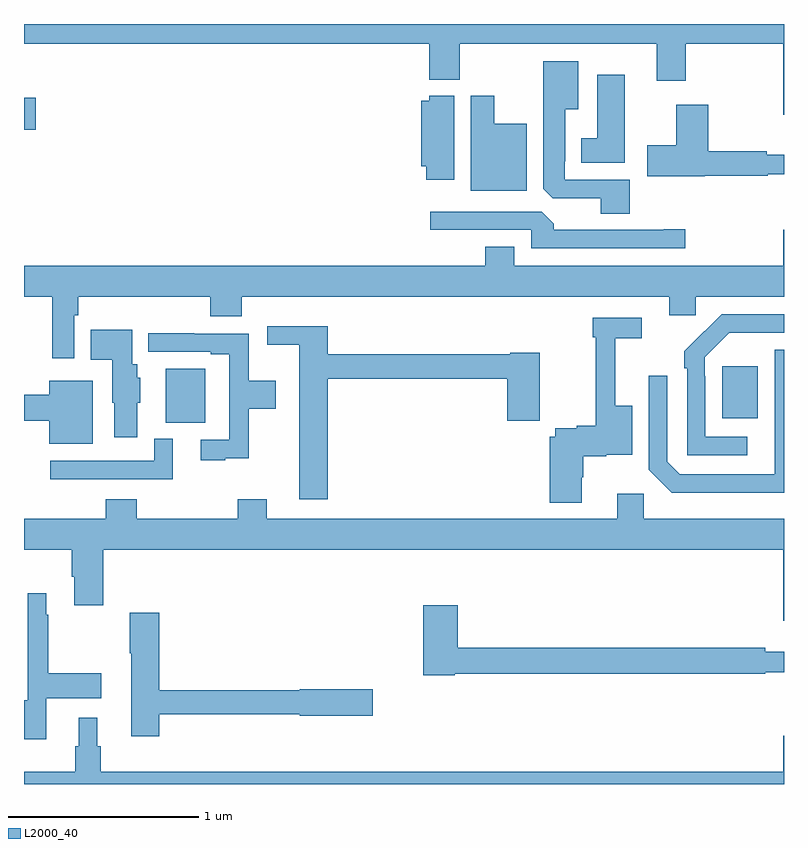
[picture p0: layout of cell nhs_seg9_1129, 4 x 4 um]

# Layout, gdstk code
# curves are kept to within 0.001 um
import gdstk
lib = gdstk.Library(unit=1e-6, precision=1e-09)
def R(c, l, rs):  # rectangles x0, y0, x1, y1
    for r in rs: c.add(gdstk.rectangle(r[:2], r[2:], *l))
def P(c, l, *ps):  # polygons
    for p in ps: c.add(gdstk.Polygon(p, *l))
L2000_40 = (2000, 40)

nhs_seg9_1129 = lib.new_cell('nhs_seg9_1129')
R(nhs_seg9_1129, L2000_40, [(173.747,1218.401,173.953,1218.685), (176.675,1218.425,176.863,1218.7), (173,1219.943,173.062,1220.113)])
P(nhs_seg9_1129, L2000_40, [(177,1220.5),(173,1220.5),(173,1220.396),(175.133,1220.396),(175.133,1220.207),(175.293,1220.207),(175.293,1220.396),(176.33,1220.396),(176.33,1220.202),(176.483,1220.202),(176.483,1220.396),(176.996,1220.396),(176.996,1220.022),(177,1220.022)],
  [(176.189,1219.68),(175.845,1219.68),(175.845,1219.777),(175.849,1219.777),(175.849,1220.051),(175.918,1220.051),(175.918,1220.305),(175.733,1220.305),(175.733,1219.633),(175.782,1219.584),(176.036,1219.584),(176.036,1219.501),(176.189,1219.501)],
  [(176.161,1220.233),(176.018,1220.233),(176.018,1219.9),(175.934,1219.9),(175.934,1219.769),(176.161,1219.769)],
  [(175.645,1219.975),(175.474,1219.975),(175.474,1220.122),(175.352,1220.122),(175.352,1219.622),(175.645,1219.622)],
  [(175.264,1220.122),(175.134,1220.122),(175.134,1220.095),(175.091,1220.095),(175.091,1219.751),(175.118,1219.751),(175.118,1219.68),(175.264,1219.68)],
  [(176.583,1219.701),(176.914,1219.701),(176.914,1219.708),(177,1219.708),(177,1219.811),(176.909,1219.811),(176.909,1219.829),(176.6,1219.829),(176.6,1220.074),(176.432,1220.074),(176.432,1219.863),(176.28,1219.863),(176.28,1219.7),(176.583,1219.7)],
  [(176.479,1219.421),(176.366,1219.421),(176.366,1219.416),(175.787,1219.416),(175.787,1219.45),(175.725,1219.512),(175.137,1219.512),(175.137,1219.416),(175.671,1219.416),(175.671,1219.32),(176.479,1219.32)],
  [(173.265,1218.968),(173.285,1218.968),(173.285,1219.064),(173.981,1219.064),(173.981,1218.962),(174.146,1218.962),(174.146,1219.064),(176.396,1219.064),(176.396,1218.966),(176.535,1218.966),(176.535,1219.064),(177,1219.064),(177,1219.417),(176.996,1219.417),(176.996,1219.228),(175.579,1219.228),(175.579,1219.327),(175.427,1219.327),(175.427,1219.228),(173,1219.228),(173,1219.064),(173.149,1219.064),(173.149,1218.741),(173.265,1218.741)],
  [(176.806,1218.327),(176.586,1218.327),(176.586,1218.647),(176.583,1218.647),(176.583,1218.747),(176.712,1218.876),(177,1218.876),(177,1218.972),(176.672,1218.972),(176.475,1218.777),(176.475,1218.689),(176.49,1218.689),(176.49,1218.231),(176.806,1218.231)],
  [(175.936,1218.114),(175.944,1218.114),(175.944,1218.226),(176.064,1218.226),(176.064,1218.233),(176.2,1218.233),(176.2,1218.49),(176.111,1218.49),(176.111,1218.846),(176.251,1218.846),(176.251,1218.954),(175.993,1218.954),(175.993,1218.851),(176.008,1218.851),(176.008,1218.386),(175.908,1218.386),(175.908,1218.373),(175.796,1218.373),(175.796,1218.327),(175.766,1218.327),(175.766,1217.981),(175.936,1217.981)],
  [(174.599,1218.634),(175.544,1218.634),(175.544,1218.411),(175.714,1218.411),(175.714,1218.771),(175.56,1218.771),(175.56,1218.763),(174.599,1218.763),(174.599,1218.91),(174.279,1218.91),(174.279,1218.812),(174.449,1218.812),(174.449,1218),(174.599,1218)],
  [(173.596,1218.507),(173.611,1218.507),(173.611,1218.639),(173.596,1218.639),(173.596,1218.708),(173.569,1218.708),(173.569,1218.892),(173.35,1218.892),(173.35,1218.734),(173.465,1218.734),(173.465,1218.507),(173.474,1218.507),(173.474,1218.324),(173.596,1218.324)],
  [(174.059,1218.215),(174.182,1218.215),(174.182,1218.475),(174.325,1218.475),(174.325,1218.622),(174.182,1218.622),(174.182,1218.87),(173.897,1218.87),(173.897,1218.872),(173.655,1218.872),(173.655,1218.774),(173.984,1218.774),(173.984,1218.762),(174.081,1218.762),(174.081,1218.312),(173.931,1218.312),(173.931,1218.204),(174.059,1218.204)],
  [(177,1218.786),(176.952,1218.786),(176.952,1218.329),(176.951,1218.329),(176.951,1218.129),(176.451,1218.129),(176.385,1218.195),(176.385,1218.649),(176.289,1218.649),(176.289,1218.153),(176.41,1218.032),(177,1218.032)],
  [(173.362,1218.622),(173.132,1218.622),(173.132,1218.548),(173,1218.548),(173,1218.412),(173.132,1218.412),(173.132,1218.29),(173.362,1218.29)],
  [(173.782,1218.316),(173.685,1218.316),(173.685,1218.201),(173.139,1218.201),(173.139,1218.105),(173.782,1218.105)],
  [(177,1217.896),(176.262,1217.896),(176.262,1218.028),(176.123,1218.028),(176.123,1217.896),(174.277,1217.896),(174.277,1217.998),(174.125,1217.998),(174.125,1217.896),(173.594,1217.896),(173.594,1217.998),(173.429,1217.998),(173.429,1217.896),(173,1217.896),(173,1217.732),(173.252,1217.732),(173.252,1217.59),(173.264,1217.59),(173.264,1217.442),(173.417,1217.442),(173.417,1217.732),(176.996,1217.732),(176.996,1217.358),(177,1217.358)],
  [(173.116,1216.952),(173.407,1216.952),(173.407,1217.082),(173.128,1217.082),(173.128,1217.39),(173.116,1217.39),(173.116,1217.503),(173.019,1217.503),(173.019,1216.942),(173,1216.942),(173,1216.736),(173.116,1216.736)],
  [(175.266,1217.08),(176.902,1217.08),(176.902,1217.088),(177,1217.088),(177,1217.197),(176.9,1217.197),(176.9,1217.216),(175.283,1217.216),(175.283,1217.44),(175.1,1217.44),(175.1,1217.072),(175.266,1217.072)],
  [(173.711,1216.866),(174.45,1216.866),(174.45,1216.858),(174.835,1216.858),(174.835,1217),(174.45,1217),(174.45,1216.994),(173.711,1216.994),(173.711,1217.401),(173.557,1217.401),(173.557,1217.188),(173.564,1217.188),(173.564,1216.752),(173.711,1216.752)],
  [(177,1216.753),(176.996,1216.753),(176.996,1216.564),(173.405,1216.564),(173.405,1216.698),(173.386,1216.698),(173.386,1216.849),(173.288,1216.849),(173.288,1216.698),(173.269,1216.698),(173.269,1216.564),(173,1216.564),(173,1216.5),(177,1216.5)])

lib.write_gds('nhs_seg9_1129.gds')
